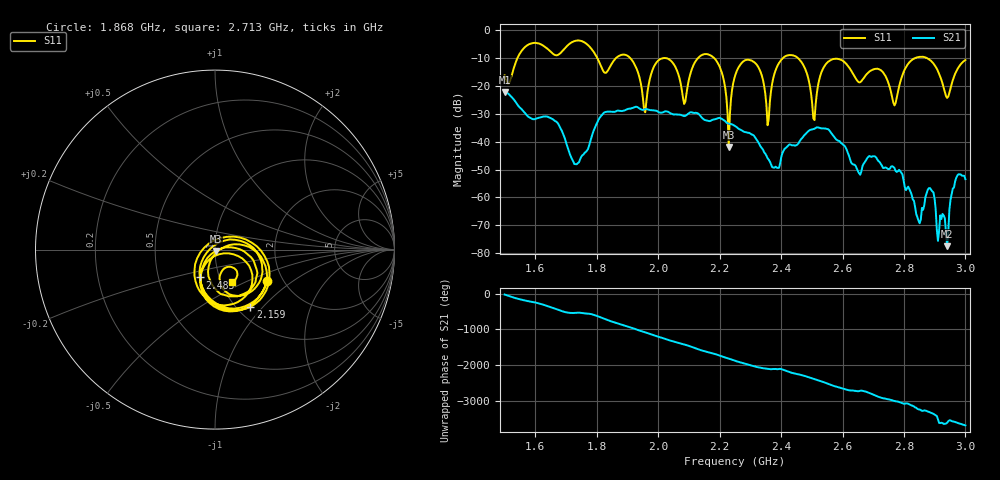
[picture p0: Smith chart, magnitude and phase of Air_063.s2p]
# HZ S RI R 50
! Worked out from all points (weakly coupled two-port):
!   404 points, 1.5 GHz to 3 GHz, reference 50 ohm
!   highest |S21| = -22.13 dB at 1.5 GHz (marker M1); lowest = -77.5 dB at 2.94 GHz (marker M2)
!   lowest |S11| = -41.9 dB at 2.23 GHz (marker M3), VSWR 1.02, Z = 50.3 - j0.737 ohm
!   |S11| at or under -10 dB: 2.183 GHz to 2.406 GHz (222.9 MHz wide, 9.72 % of centre); 2.456 GHz to 2.835 GHz (379.6 MHz wide, 14.3 % of centre); 2.876 GHz to end of sweep (the widest 3 of 7)
!   S12 and S22 are empty: the file has one direction only
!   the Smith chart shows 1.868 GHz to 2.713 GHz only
!   S11 on the Smith chart (normalised r, x): 1.868 GHz: 1.65, -0.66; 2.159 GHz: 1.15, -0.86; 2.483 GHz: 0.81, -0.26; 2.713 GHz: 1.12, -0.43
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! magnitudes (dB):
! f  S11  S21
! 1.5 GHz  -16.2  -22.1
! 1.753 GHz  -3.9  -44.8
! 1.868 GHz  -9.4  -28.8
! 1.958 GHz  -29.4  -28.3
! 2.002 GHz  -10.6  -29.4
! 2.084 GHz  -26.4  -30.8
! 2.159 GHz  -8.5  -32.4
! 2.23 GHz  -41.9  -33.5
! 2.252 GHz  -15.7  -34.5
! 2.319 GHz  -12.1  -39.0
! 2.356 GHz  -34.1  -46.0
! 2.382 GHz  -14.3  -49.0
! 2.483 GHz  -15.0  -36.9
! 2.501 GHz  -26.3  -35.5
! 2.561 GHz  -10.7  -36.5
! 2.713 GHz  -13.8  -46.4
! 2.751 GHz  -19.3  -49.8
! 2.862 GHz  -9.5  -64.4
! 2.888 GHz  -11.0  -57.2
! 2.94 GHz  -24.2  -77.5
! 2.967 GHz  -15.6  -54.3
! 3 GHz  -10.6  -53.4
